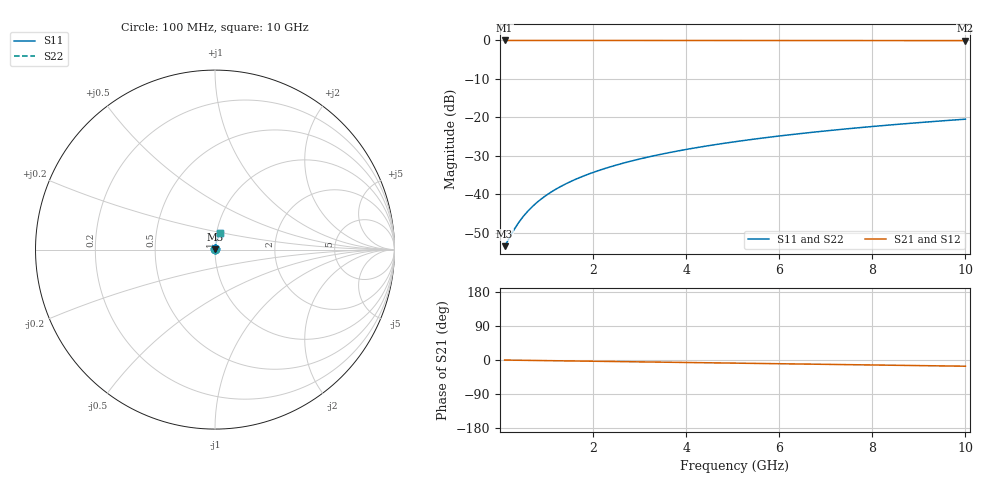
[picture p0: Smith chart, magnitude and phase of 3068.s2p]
# Hz S RI R 50.00
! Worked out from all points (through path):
!   100 points, 100 MHz to 10 GHz, reference 50 ohm
!   highest |S21| = -0.02 dB at 100 MHz (marker M1); lowest = -0.1 dB at 10 GHz (marker M2)
!   group delay of S21, straight-line fit = 4.56 ps
!   lowest |S11| = -53.4 dB at 100 MHz (marker M3), VSWR 1.00, Z = 50.2 + j0.0958 ohm
!   |S11| at or under -10 dB: start of sweep to end of sweep
!   |S22| runs from -53.4 to -20.5 dB; largest |S21 - S12| = 0
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1e8  0.0019 0.000954  0.9981 -0.00285  0.9981 -0.00285  0.0019 0.000954
3e8  0.00194 0.00286  0.998 -0.00855  0.998 -0.00855  0.00194 0.00286
4e8  0.00197 0.00382  0.998 -0.0114  0.998 -0.0114  0.00197 0.00382
5e8  0.002 0.00477  0.9979 -0.0142  0.9979 -0.0142  0.002 0.00477
6e8  0.00204 0.00572  0.9979 -0.0171  0.9979 -0.0171  0.00204 0.00572
7e8  0.00207 0.00668  0.9978 -0.0199  0.9978 -0.0199  0.00207 0.00668
8e8  0.00212 0.00763  0.9977 -0.0228  0.9977 -0.0228  0.00212 0.00763
1e9  0.00222 0.00953  0.9976 -0.0285  0.9976 -0.0285  0.00222 0.00953
1.2e9  0.00235 0.0114  0.9974 -0.0342  0.9974 -0.0342  0.00235 0.0114
1.5e9  0.00258 0.0143  0.997 -0.0427  0.997 -0.0427  0.00258 0.0143
1.8e9  0.00286 0.0171  0.9965 -0.0513  0.9965 -0.0513  0.00286 0.0171
2.1e9  0.00318 0.02  0.996 -0.0598  0.996 -0.0598  0.00318 0.02
2.5e9  0.00369 0.0238  0.9951 -0.0712  0.9951 -0.0712  0.00369 0.0238
2.9e9  0.00428 0.0275  0.9942 -0.0825  0.9942 -0.0825  0.00428 0.0275
3.4e9  0.00514 0.0322  0.9927 -0.0967  0.9927 -0.0967  0.00514 0.0322
4.2e9  0.0068 0.0397  0.9899 -0.1194  0.9899 -0.1194  0.0068 0.0397
5.1e9  0.00907 0.048  0.9861 -0.1448  0.9861 -0.1448  0.00907 0.048
5.9e9  0.0114 0.0552  0.9821 -0.1673  0.9821 -0.1673  0.0114 0.0552
6.7e9  0.0142 0.0624  0.9776 -0.1896  0.9776 -0.1896  0.0142 0.0624
7.5e9  0.0172 0.0694  0.9725 -0.2119  0.9725 -0.2119  0.0172 0.0694
8.4e9  0.021 0.0771  0.966 -0.2368  0.966 -0.2368  0.021 0.0771
1e10  0.0287 0.0904  0.9528 -0.2805  0.9528 -0.2805  0.0287 0.0904
